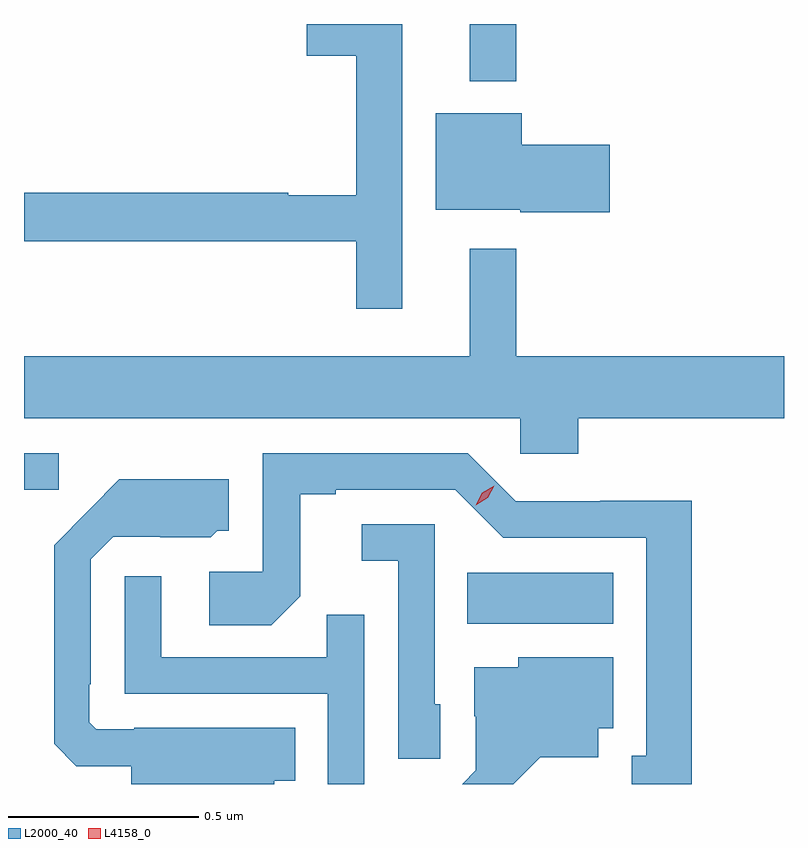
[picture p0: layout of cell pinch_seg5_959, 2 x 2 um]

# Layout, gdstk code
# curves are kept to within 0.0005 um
import gdstk
lib = gdstk.Library(unit=1e-6, precision=1e-09)
def R(c, l, rs):  # rectangles x0, y0, x1, y1
    for r in rs: c.add(gdstk.rectangle(r[:2], r[2:], *l))
def P(c, l, *ps):  # polygons
    for p in ps: c.add(gdstk.Polygon(p, *l))
L2000_40 = (2000, 40)
L4158_0 = (4158, 0)

pinch_seg5_959 = lib.new_cell('pinch_seg5_959')
R(pinch_seg5_959, L2000_40, [(676.828,906.836,677.212,906.97), (675.662,907.188,675.754,907.284), (676.835,908.264,676.957,908.414)])
P(pinch_seg5_959, L2000_40, [(676.657,908.414),(676.406,908.414),(676.406,908.33),(676.536,908.33),(676.536,907.963),(676.357,907.963),(676.357,907.97),(675.662,907.97),(675.662,907.842),(676.536,907.842),(676.536,907.665),(676.657,907.665)],
  [(677.203,908.096),(676.972,908.096),(676.972,908.179),(676.745,908.179),(676.745,907.925),(676.968,907.925),(676.968,907.918),(677.203,907.918)],
  [(677.12,907.376),(677.662,907.376),(677.662,907.54),(676.957,907.54),(676.957,907.822),(676.835,907.822),(676.835,907.54),(675.662,907.54),(675.662,907.376),(676.968,907.376),(676.968,907.283),(677.12,907.283)],
  [(677.419,907.16),(677.178,907.16),(677.178,907.158),(676.956,907.158),(676.83,907.284),(676.29,907.284),(676.29,906.972),(676.149,906.972),(676.149,906.832),(676.313,906.832),(676.389,906.908),(676.389,907.176),(676.483,907.176),(676.483,907.188),(676.797,907.188),(676.923,907.062),(677.3,907.062),(677.3,906.489),(677.261,906.489),(677.261,906.414),(677.419,906.414)],
  [(676.32,906.422),(676.376,906.422),(676.376,906.562),(675.952,906.562),(675.952,906.558),(675.852,906.558),(675.834,906.576),(675.834,906.676),(675.837,906.676),(675.837,907.005),(675.897,907.065),(676.02,907.065),(676.02,907.064),(676.154,907.064),(676.17,907.08),(676.201,907.08),(676.201,907.216),(675.913,907.216),(675.741,907.042),(675.741,906.52),(675.8,906.461),(675.944,906.461),(675.944,906.414),(676.32,906.414)],
  [(676.758,906.624),(676.743,906.624),(676.743,907.098),(676.551,907.098),(676.551,907.001),(676.647,907.001),(676.647,906.481),(676.758,906.481)],
  [(676.557,906.86),(676.459,906.86),(676.459,906.747),(676.023,906.747),(676.023,906.961),(675.927,906.961),(675.927,906.651),(676.461,906.651),(676.461,906.414),(676.557,906.414)],
  [(677.021,906.485),(677.173,906.485),(677.173,906.561),(677.212,906.561),(677.212,906.748),(676.962,906.748),(676.962,906.721),(676.847,906.721),(676.847,906.592),(676.851,906.592),(676.851,906.45),(676.815,906.414),(676.949,906.414)])
P(pinch_seg5_959, L4158_0, [(676.851,907.148),(676.851,907.148),(676.868,907.18),(676.9,907.199),(676.9,907.199),(676.9,907.199),(676.883,907.167),(676.851,907.148)])

lib.write_gds('pinch_seg5_959.gds')
